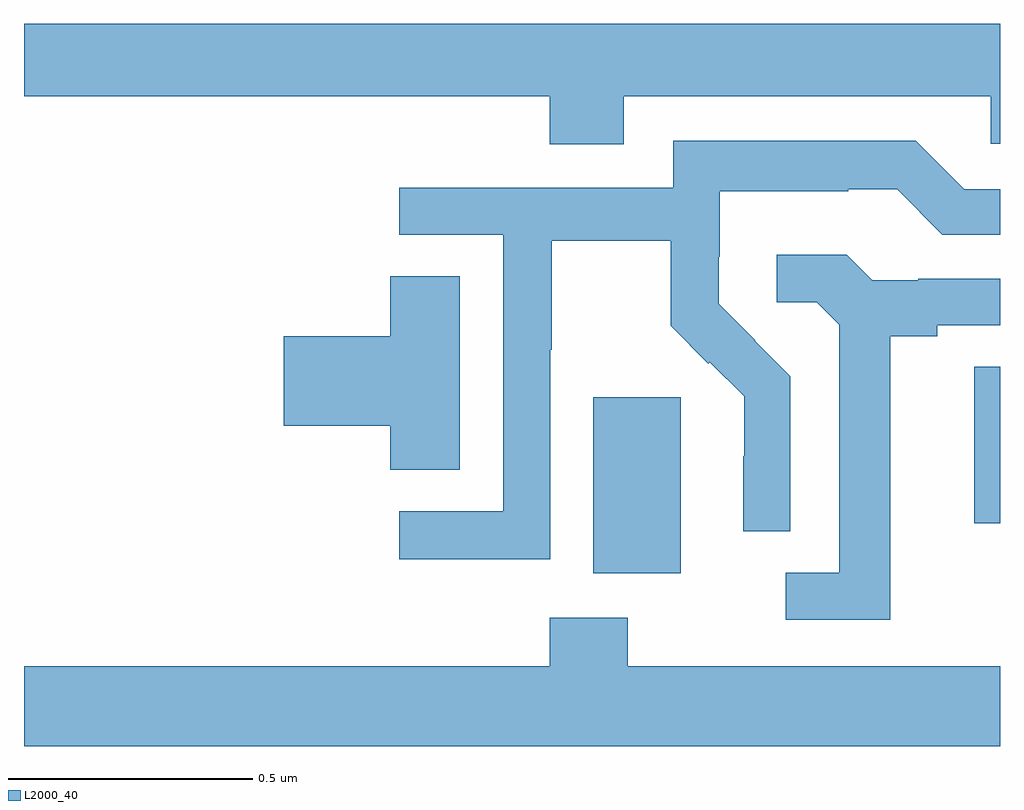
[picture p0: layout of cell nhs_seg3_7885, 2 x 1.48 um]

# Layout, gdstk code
import gdstk
lib = gdstk.Library(unit=1e-6, precision=1e-09)
def R(c, l, rs):  # rectangles x0, y0, x1, y1
    for r in rs: c.add(gdstk.rectangle(r[:2], r[2:], *l))
def P(c, l, *ps):  # polygons
    for p in ps: c.add(gdstk.Polygon(p, *l))
L2000_40 = (2000, 40)

nhs_seg3_7885 = lib.new_cell('nhs_seg3_7885')
R(nhs_seg3_7885, L2000_40, [(210.167,697.274,210.346,697.635), (210.947,697.377,211,697.697)])
P(nhs_seg3_7885, L2000_40, [(210.229,698.252),(210.981,698.252),(210.981,698.154),(211,698.154),(211,698.4),(209,698.4),(209,698.252),(210.077,698.252),(210.077,698.153),(210.229,698.153)],
  [(210.078,697.732),(210.081,697.732),(210.081,697.956),(210.325,697.956),(210.325,697.781),(210.402,697.704),(210.405,697.707),(210.476,697.637),(210.476,697.514),(210.474,697.514),(210.474,697.36),(210.57,697.36),(210.57,697.678),(210.497,697.751),(210.498,697.752),(210.424,697.826),(210.424,697.923),(210.426,697.923),(210.426,698.057),(210.689,698.057),(210.689,698.061),(210.789,698.061),(210.882,697.968),(211,697.968),(211,698.061),(210.927,698.061),(210.827,698.161),(210.33,698.161),(210.33,698.064),(209.769,698.064),(209.769,697.968),(209.982,697.968),(209.982,697.401),(209.769,697.401),(209.769,697.303),(210.078,697.303)],
  [(210.775,697.76),(210.871,697.76),(210.871,697.782),(211,697.782),(211,697.878),(210.832,697.878),(210.832,697.875),(210.738,697.875),(210.686,697.927),(210.543,697.927),(210.543,697.83),(210.624,697.83),(210.671,697.783),(210.671,697.275),(210.561,697.275),(210.561,697.179),(210.775,697.179)],
  [(209.893,697.883),(209.75,697.883),(209.75,697.76),(209.532,697.76),(209.532,697.577),(209.75,697.577),(209.75,697.486),(209.893,697.486)],
  [(211,697.084),(210.237,697.084),(210.237,697.183),(210.077,697.183),(210.077,697.084),(209,697.084),(209,696.92),(211,696.92)])

lib.write_gds('nhs_seg3_7885.gds')
